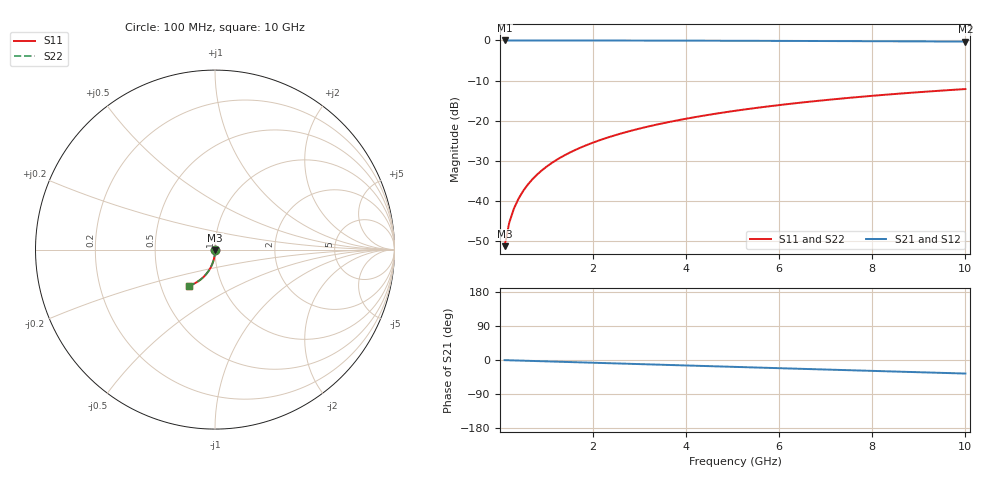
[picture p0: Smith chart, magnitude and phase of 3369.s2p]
# Hz S RI R 50.00
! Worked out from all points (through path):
!   100 points, 100 MHz to 10 GHz, reference 50 ohm
!   highest |S21| = -0.01 dB at 100 MHz (marker M1); lowest = -0.3 dB at 10 GHz (marker M2)
!   group delay of S21, straight-line fit = 9.94 ps
!   lowest |S11| = -51.3 dB at 100 MHz (marker M3), VSWR 1.01, Z = 50.1 - j0.267 ohm
!   |S11| at or under -10 dB: start of sweep to end of sweep
!   |S22| runs from -51.3 to -12.1 dB; largest |S21 - S12| = 0
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1e8  0.000555 -0.00267  0.9994 -0.00629  0.9994 -0.00629  0.000555 -0.00267
2e8  0.000504 -0.00534  0.9993 -0.0126  0.9993 -0.0126  0.000504 -0.00534
3e8  0.000418 -0.00801  0.9992 -0.0189  0.9992 -0.0189  0.000418 -0.00801
4e8  0.000299 -0.0107  0.999 -0.0251  0.999 -0.0251  0.000299 -0.0107
5e8  0.000146 -0.0134  0.9988 -0.0314  0.9988 -0.0314  0.000146 -0.0134
6e8  -4.16e-05 -0.016  0.9985 -0.0377  0.9985 -0.0377  -4.16e-05 -0.016
7e8  -0.000262 -0.0187  0.9982 -0.044  0.9982 -0.044  -0.000262 -0.0187
8e8  -0.000517 -0.0213  0.9979 -0.0503  0.9979 -0.0503  -0.000517 -0.0213
9e8  -0.000805 -0.024  0.9975 -0.0565  0.9975 -0.0565  -0.000805 -0.024
1.1e9  -0.00148 -0.0293  0.9965 -0.0691  0.9965 -0.0691  -0.00148 -0.0293
1.4e9  -0.00275 -0.0372  0.9948 -0.0879  0.9948 -0.0879  -0.00275 -0.0372
1.8e9  -0.0049 -0.0477  0.9918 -0.1128  0.9918 -0.1128  -0.0049 -0.0477
2.1e9  -0.00686 -0.0555  0.989 -0.1315  0.989 -0.1315  -0.00686 -0.0555
2.5e9  -0.00993 -0.0658  0.9847 -0.1562  0.9847 -0.1562  -0.00993 -0.0658
2.9e9  -0.0135 -0.0759  0.9797 -0.1808  0.9797 -0.1808  -0.0135 -0.0759
3.4e9  -0.0187 -0.0882  0.9725 -0.2113  0.9725 -0.2113  -0.0187 -0.0882
4.2e9  -0.0286 -0.1072  0.9585 -0.2594  0.9585 -0.2594  -0.0286 -0.1072
5.1e9  -0.0418 -0.1272  0.9396 -0.3122  0.9396 -0.3122  -0.0418 -0.1272
5.9e9  -0.0554 -0.1436  0.9201 -0.3577  0.9201 -0.3577  -0.0554 -0.1436
6.7e9  -0.0705 -0.1585  0.8981 -0.4018  0.8981 -0.4018  -0.0705 -0.1585
8.4e9  -0.1067 -0.1845  0.8441 -0.4899  0.8441 -0.4899  -0.1067 -0.1845
1e10  -0.1445 -0.2013  0.7854 -0.5652  0.7854 -0.5652  -0.1445 -0.2013
